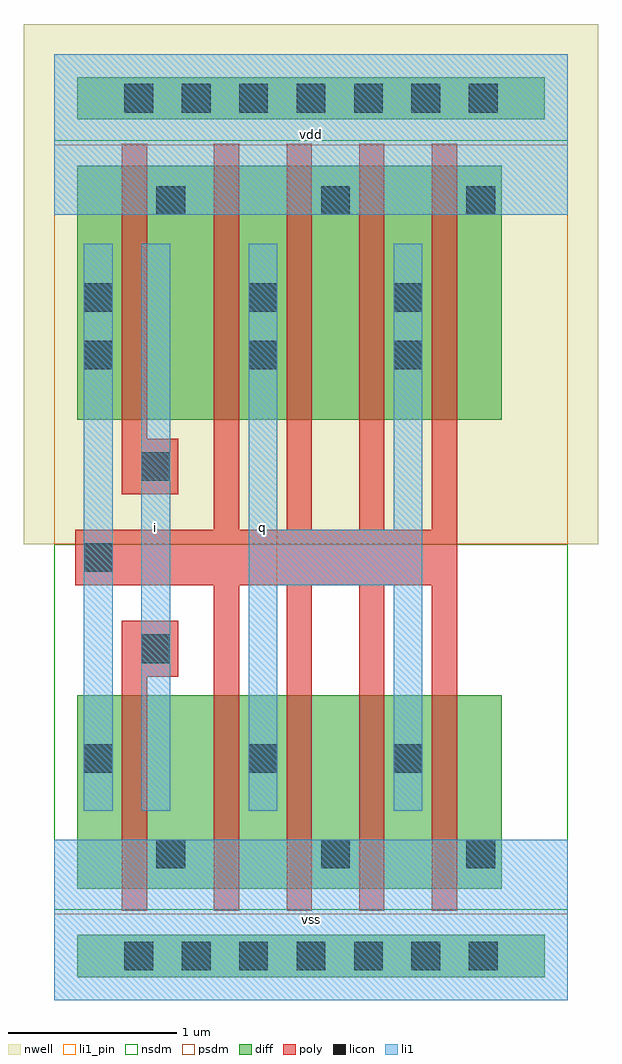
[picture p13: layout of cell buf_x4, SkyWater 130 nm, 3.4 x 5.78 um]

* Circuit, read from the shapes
.subckt buf_x4 i q vdd vss
XM1 vss i n1 VSUBS sky130_fd_pr__nfet_01v8 w=1.145 l=0.15
XM2 q n1 vss VSUBS sky130_fd_pr__nfet_01v8 w=1.145 l=0.15 m=4
XM3 vdd i n1 n2 sky130_fd_pr__pfet_01v8 w=1.505 l=0.15
XM4 q n1 vdd n2 sky130_fd_pr__pfet_01v8 w=1.505 l=0.15 m=4
.ends

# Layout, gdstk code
import gdstk
lib = gdstk.Library(unit=1e-6, precision=1e-09)
def R(c, l, rs):  # rectangles x0, y0, x1, y1
    for r in rs: c.add(gdstk.rectangle(r[:2], r[2:], *l))
def A(c, l, x, y, w, h, nx, ny, dx, dy):  # array of equal rectangles
    R(c, l, [(x+i*dx, y+j*dy, x+i*dx+w, y+j*dy+h) for i in range(nx) for j in range(ny)])
def P(c, l, *ps):  # polygons
    for p in ps: c.add(gdstk.Polygon(p, *l))
nwell = (64, 20)
diff = (65, 20)
poly = (66, 20)
licon = (66, 44)
li1_pin = (67, 16)
li1 = (67, 20)
nsdm = (93, 44)
psdm = (94, 20)

buf_x4 = lib.new_cell('buf_x4')
R(buf_x4, nwell, [(-0.18,2.7,3.22,5.78)])
R(buf_x4, diff, [(0.135,0.135,2.905,0.385), (0.135,0.66,2.65,1.805), (0.135,3.435,2.65,4.94), (0.135,5.215,2.905,5.465)])
P(buf_x4, poly, [(0.945,0.53),(0.945,2.455),(0.125,2.455),(0.125,2.785),(0.945,2.785),(0.945,5.07),(1.095,5.07),(1.095,2.785),(1.375,2.785),(1.375,5.07),(1.525,5.07),(1.525,2.785),(1.805,2.785),(1.805,5.07),(1.955,5.07),(1.955,2.785),(2.235,2.785),(2.235,5.07),(2.385,5.07),(2.385,0.53),(2.235,0.53),(2.235,2.455),(1.955,2.455),(1.955,0.53),(1.805,0.53),(1.805,2.455),(1.525,2.455),(1.525,0.53),(1.375,0.53),(1.375,2.455),(1.095,2.455),(1.095,0.53)],
  [(0.4,2.995),(0.4,5.07),(0.55,5.07),(0.55,3.325),(0.735,3.325),(0.735,2.995)],
  [(0.4,0.53),(0.4,2.245),(0.735,2.245),(0.735,1.915),(0.55,1.915),(0.55,0.53)])
A(buf_x4, licon, 0.415, 0.175, 0.17, 0.17, 7, 2, 0.34, 5.08)
R(buf_x4, licon, [(0.605,0.78,0.775,0.95), (1.58,0.78,1.75,0.95), (2.44,0.78,2.61,0.95), (0.175,1.345,0.345,1.515), (1.15,1.345,1.32,1.515), (2.01,1.345,2.18,1.515), (0.515,1.995,0.685,2.165), (0.175,2.535,0.345,2.705), (0.515,3.075,0.685,3.245), (0.175,3.735,0.345,3.905), (1.15,3.735,1.32,3.905), (2.01,3.735,2.18,3.905), (0.175,4.075,0.345,4.245), (1.15,4.075,1.32,4.245), (2.01,4.075,2.18,4.245), (0.605,4.65,0.775,4.82), (1.58,4.65,1.75,4.82), (2.44,4.65,2.61,4.82)])
R(buf_x4, li1_pin, [(0,0,3.04,0.95), (0.515,1.12,0.685,4.48), (1.15,1.12,1.32,4.48), (0,4.65,3.04,5.6)])
R(buf_x4, li1, [(0,0,3.04,0.95), (0.175,1.12,0.345,4.48), (0.515,1.12,0.685,4.48), (0,4.65,3.04,5.6)])
P(buf_x4, li1, [(1.15,1.12),(1.15,4.48),(1.32,4.48),(1.32,2.785),(2.01,2.785),(2.01,4.48),(2.18,4.48),(2.18,1.12),(2.01,1.12),(2.01,2.455),(1.32,2.455),(1.32,1.12)])
R(buf_x4, nsdm, [(0,0.535,3.04,2.7), (0,5.09,3.04,5.6)])
R(buf_x4, psdm, [(0,0,3.04,0.51), (0,2.7,3.04,5.065)])
buf_x4.add(gdstk.Label('vdd', (1.52,5.125), layer=67, texttype=16))
buf_x4.add(gdstk.Label('vss', (1.52,0.475), layer=67, texttype=16))
buf_x4.add(gdstk.Label('i', (0.6,2.8), layer=67, texttype=16))
buf_x4.add(gdstk.Label('q', (1.235,2.8), layer=67, texttype=16))

lib.write_gds('buf_x4.gds')
